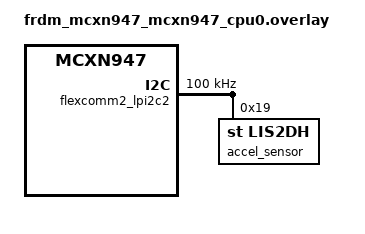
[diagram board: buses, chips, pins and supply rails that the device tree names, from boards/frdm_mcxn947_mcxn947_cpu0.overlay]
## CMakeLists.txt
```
cmake_minimum_required(VERSION 3.20.0)
find_package(Zephyr REQUIRED HINTS $ENV{ZEPHYR_BASE})
project(fan_anomaly_detection)

target_sources(app PRIVATE
    src/main.c
    src/sensor/sensor_raw.c
    src/sensor/sensor_collect.c
)

if(CONFIG_SENSOR_COLLECT_RUN_INFERENCE)
  if(CONFIG_SENSOR_INFENG_EMLEARN)
    target_sources(app PRIVATE
        src/inference_engine/emlearn/emlearn_model.c
    )
    target_include_directories(app PRIVATE
        ${ZEPHYR_EMLEARN_MODULE_DIR}
    )
  endif()
endif()

target_include_directories(app PRIVATE src)
```

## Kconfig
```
mainmenu "Fan Anomaly Detection"

choice
    prompt "Sensor collect action"
    default SENSOR_COLLECT_RUN_INFERENCE

config SENSOR_COLLECT_LOG_EXT
    bool "Collect and log sensor data externally"

config SENSOR_COLLECT_RUN_INFERENCE
    bool "Collect data and run inference"

endchoice

if SENSOR_COLLECT_RUN_INFERENCE

choice
    prompt "Inference engine"
    default SENSOR_INFENG_EMLEARN

config SENSOR_INFENG_EMLEARN
    bool "emlearn (Random Forest)"
    select EMLEARN

endchoice

choice
    prompt "Data format"
    default SENSOR_DATA_FORMAT_INTERLEAVED

config SENSOR_DATA_FORMAT_BLOCKS
    bool "Blocks"

config SENSOR_DATA_FORMAT_INTERLEAVED
    bool "Interleaved"

endchoice

config SENSOR_INFENG_VERBOSE
    bool "Enable inference verbose output"
    default y

endif # SENSOR_COLLECT_RUN_INFERENCE

config CLSF_CHANNELS
    int "Number of classifier channels"
    default 3

config CLSF_WINDOW
    int "Classifier window length in samples"
    default 128

config SENSOR_COLLECT_QUEUE_ITEMS
    int "Sensor queue size"
    default 200

config SENSOR_COLLECT_RATE_HZ
    int "Sampling rate in Hz"
    default 200

source "Kconfig.zephyr"
```

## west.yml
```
manifest:
  version: "0.13"

  remotes:
    - name: zephyrproject
      url-base: https://github.com/zephyrproject-rtos

  projects:
    - name: zephyr
      remote: zephyrproject
      revision: v3.7.0
      import:
        name-allowlist:
          - cmsis
          - hal_nxp
          - segger
          - hal_st
          
```

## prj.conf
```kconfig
CONFIG_SENSOR=y
CONFIG_LOG=y
CONFIG_PRINTK=y
CONFIG_FPU=y
CONFIG_CBPRINTF_FP_SUPPORT=y
CONFIG_HEAP_MEM_POOL_SIZE=8192
CONFIG_MAIN_STACK_SIZE=4096
CONFIG_I2C=y
```

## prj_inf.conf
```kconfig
CONFIG_SENSOR_COLLECT_RUN_INFERENCE=y
CONFIG_SENSOR_INFENG_EMLEARN=y
CONFIG_SENSOR_DATA_FORMAT_INTERLEAVED=y
CONFIG_SENSOR_INFENG_VERBOSE=y
CONFIG_CLSF_CHANNELS=3
CONFIG_CLSF_WINDOW=128
CONFIG_SENSOR_COLLECT_QUEUE_ITEMS=200
CONFIG_SENSOR_COLLECT_RATE_HZ=200
```

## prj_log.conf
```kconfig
CONFIG_SENSOR_COLLECT_LOG_EXT=y
CONFIG_SENSOR_COLLECT_QUEUE_ITEMS=200
CONFIG_SENSOR_COLLECT_RATE_HZ=200
```

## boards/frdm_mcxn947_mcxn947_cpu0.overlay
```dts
#include <zephyr/dt-bindings/i2c/i2c.h>

/ {
    aliases {
        accel0 = &accel_sensor;
    };
};

&flexcomm2_lpi2c2 {
    status = "okay";
    clock-frequency = <I2C_BITRATE_STANDARD>;

    accel_sensor: accelerometer@19 {
        compatible = "st,lis2dh";
        reg = <0x19>;
        status = "okay";
    };
};
```

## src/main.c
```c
#include <zephyr/kernel.h>
#include <zephyr/logging/log.h>
#include "sensor/sensor_collect.h"

LOG_MODULE_REGISTER(main, LOG_LEVEL_INF);

int main(void)
{
    LOG_INF("System ready");
    k_msleep(500);
    MainTask();
    return 0;
}
```
